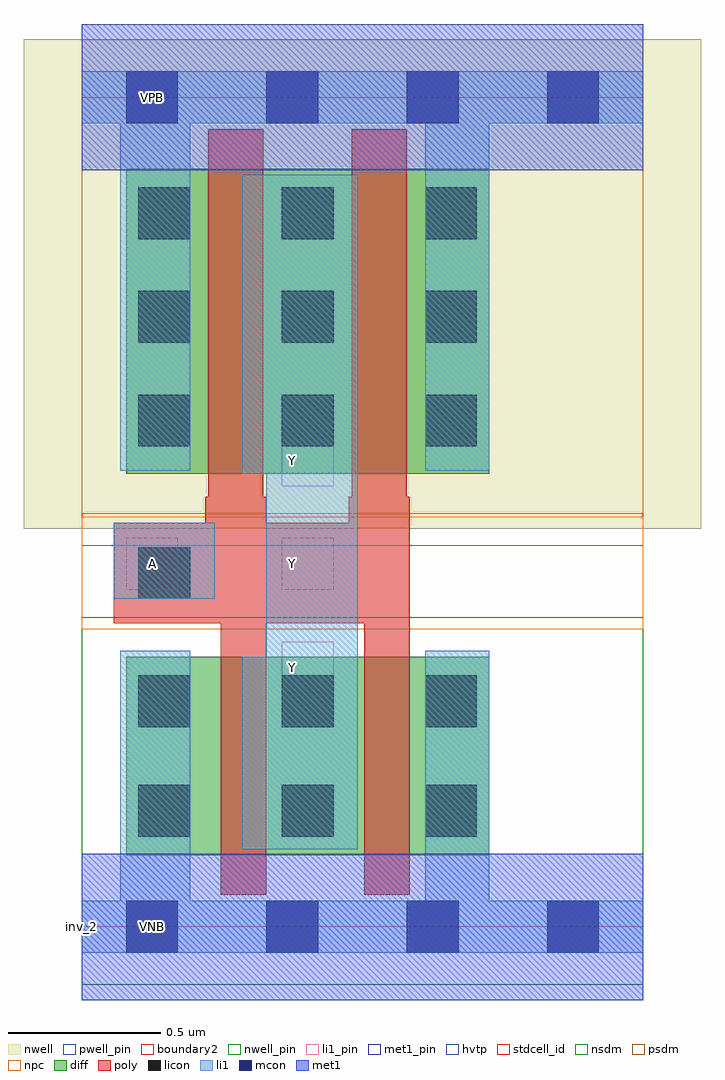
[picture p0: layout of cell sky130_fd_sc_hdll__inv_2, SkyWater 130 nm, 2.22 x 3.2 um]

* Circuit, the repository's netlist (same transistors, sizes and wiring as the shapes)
* Copyright 2020 The SkyWater PDK Authors
*
* Licensed under the Apache License, Version 2.0 (the "License");
* you may not use this file except in compliance with the License.
* You may obtain a copy of the License at
*
*     https://www.apache.org/licenses/LICENSE-2.0
*
* Unless required by applicable law or agreed to in writing, software
* distributed under the License is distributed on an "AS IS" BASIS,
* WITHOUT WARRANTIES OR CONDITIONS OF ANY KIND, either express or implied.
* See the License for the specific language governing permissions and
* limitations under the License.
*
* SPDX-License-Identifier: Apache-2.0

.SUBCKT sky130_fd_sc_hdll__inv_2 A VGND VNB VPB VPWR Y
*.PININFO A:I VGND:I VNB:I VPB:I VPWR:I Y:O
MMIN1 Y A VGND VNB sky130_fd_pr__nfet_01v8 m=2 w=0.65U l=0.15U mult=1 sa=0.265
+ sb=0.265 sd=0.28 area=0.063 perim=1.14
MMIP1 Y A VPWR VPB sky130_fd_pr__pfet_01v8_hvt m=2 w=1.0U l=0.18U mult=1 sa=0.265
+ sb=0.265 sd=0.28 area=0.063 perim=1.14
.ENDS sky130_fd_sc_hdll__inv_2

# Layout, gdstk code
import gdstk
lib = gdstk.Library(unit=1e-6, precision=1e-09)
def R(c, l, rs):  # rectangles x0, y0, x1, y1
    for r in rs: c.add(gdstk.rectangle(r[:2], r[2:], *l))
def A(c, l, x, y, w, h, nx, ny, dx, dy):  # array of equal rectangles
    R(c, l, [(x+i*dx, y+j*dy, x+i*dx+w, y+j*dy+h) for i in range(nx) for j in range(ny)])
def P(c, l, *ps):  # polygons
    for p in ps: c.add(gdstk.Polygon(p, *l))
nwell_pin = (64, 16)
nwell = (64, 20)
diff = (65, 20)
poly = (66, 20)
licon = (66, 44)
li1_pin = (67, 16)
li1 = (67, 20)
mcon = (67, 44)
met1_pin = (68, 16)
met1 = (68, 20)
hvtp = (78, 44)
stdcell_id = (81, 4)
nsdm = (93, 44)
psdm = (94, 20)
npc = (95, 20)
pwell_pin = (122, 16)
boundary2 = (236, 0)

sky130_fd_sc_hdll__inv_2 = lib.new_cell('sky130_fd_sc_hdll__inv_2')
R(sky130_fd_sc_hdll__inv_2, nwell_pin, [(0.145,2.635,0.315,2.805)])
R(sky130_fd_sc_hdll__inv_2, nwell, [(-0.19,1.305,2.03,2.91)])
R(sky130_fd_sc_hdll__inv_2, diff, [(0.145,0.235,1.335,0.885), (0.145,1.485,1.335,2.485)])
P(sky130_fd_sc_hdll__inv_2, poly, [(1.075,1.41),(1.065,1.41),(1.065,2.615),(0.885,2.615),(0.885,1.41),(0.875,1.41),(0.875,1.325),(0.605,1.325),(0.605,1.41),(0.595,1.41),(0.595,2.615),(0.415,2.615),(0.415,1.41),(0.405,1.41),(0.405,1.325),(0.105,1.325),(0.105,0.995),(0.455,0.995),(0.455,0.105),(0.605,0.105),(0.605,0.995),(0.925,0.995),(0.925,0.105),(1.075,0.105)])
A(sky130_fd_sc_hdll__inv_2, licon, 0.185, 0.295, 0.17, 0.17, 3, 2, 0.47, 0.36)
A(sky130_fd_sc_hdll__inv_2, licon, 0.185, 1.575, 0.17, 0.17, 3, 3, 0.47, 0.34)
R(sky130_fd_sc_hdll__inv_2, licon, [(0.185,1.075,0.355,1.245)])
A(sky130_fd_sc_hdll__inv_2, li1_pin, 0.655, 0.765, 0.17, 0.17, 1, 3, 0, 0.34)
R(sky130_fd_sc_hdll__inv_2, li1_pin, [(0.145,1.105,0.315,1.275)])
R(sky130_fd_sc_hdll__inv_2, li1, [(0.105,1.075,0.435,1.325)])
P(sky130_fd_sc_hdll__inv_2, li1, [(1.84,2.805),(0,2.805),(0,2.635),(0.125,2.635),(0.125,1.495),(0.355,1.495),(0.355,2.635),(1.125,2.635),(1.125,1.495),(1.335,1.495),(1.335,2.635),(1.84,2.635)],
  [(0.905,2.465),(0.525,2.465),(0.525,1.485),(0.605,1.485),(0.605,0.885),(0.525,0.885),(0.525,0.255),(0.905,0.255)],
  [(1.84,0.085),(1.335,0.085),(1.335,0.905),(1.125,0.905),(1.125,0.085),(0.355,0.085),(0.355,0.905),(0.125,0.905),(0.125,0.085),(0,0.085),(0,-0.085),(1.84,-0.085)])
A(sky130_fd_sc_hdll__inv_2, mcon, 0.145, -0.085, 0.17, 0.17, 4, 2, 0.46, 2.72)
R(sky130_fd_sc_hdll__inv_2, met1_pin, [(0.145,-0.085,0.315,0.085), (0.145,2.635,0.315,2.805)])
R(sky130_fd_sc_hdll__inv_2, met1, [(0,-0.24,1.84,0.24), (0,2.48,1.84,2.96)])
R(sky130_fd_sc_hdll__inv_2, hvtp, [(0,1.25,1.84,2.72)])
R(sky130_fd_sc_hdll__inv_2, stdcell_id, [(0,0,1.84,2.72)])
R(sky130_fd_sc_hdll__inv_2, nsdm, [(0,-0.19,1.84,1.015)])
R(sky130_fd_sc_hdll__inv_2, psdm, [(0,1.355,1.84,2.91)])
R(sky130_fd_sc_hdll__inv_2, npc, [(0,0.975,1.84,1.345)])
R(sky130_fd_sc_hdll__inv_2, pwell_pin, [(0.145,-0.085,0.315,0.085)])
R(sky130_fd_sc_hdll__inv_2, boundary2, [(0,0,1.84,2.72)])
sky130_fd_sc_hdll__inv_2.add(gdstk.Label('A', (0.23,1.19), layer=67, texttype=5))
sky130_fd_sc_hdll__inv_2.add(gdstk.Label('Y', (0.69,0.85), layer=67, texttype=5))
sky130_fd_sc_hdll__inv_2.add(gdstk.Label('Y', (0.69,1.53), layer=67, texttype=5))
sky130_fd_sc_hdll__inv_2.add(gdstk.Label('Y', (0.69,1.19), layer=67, texttype=5))
sky130_fd_sc_hdll__inv_2.add(gdstk.Label('VPB', (0.23,2.72), layer=64, texttype=5))
sky130_fd_sc_hdll__inv_2.add(gdstk.Label('VNB', (0.23,0), layer=64, texttype=59))
sky130_fd_sc_hdll__inv_2.add(gdstk.Label('VPWR', (0.23,2.72), layer=68, texttype=5))
sky130_fd_sc_hdll__inv_2.add(gdstk.Label('VGND', (0.23,0), layer=68, texttype=5))
sky130_fd_sc_hdll__inv_2.add(gdstk.Label('inv_2', (0,0), layer=83, texttype=44))

lib.write_gds('sky130_fd_sc_hdll__inv_2.gds')
